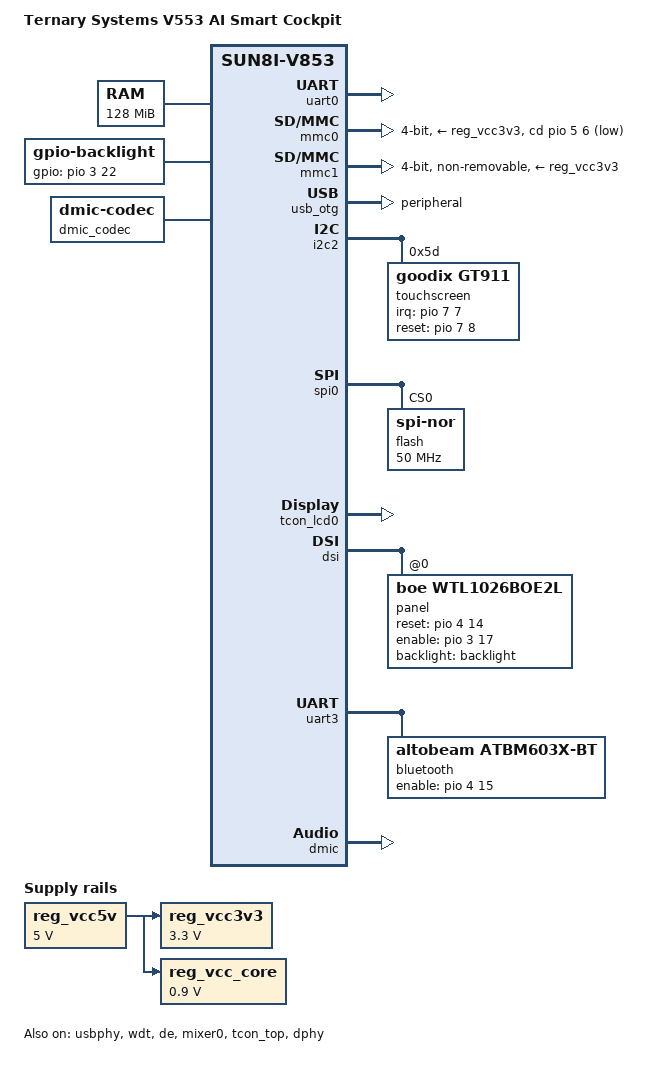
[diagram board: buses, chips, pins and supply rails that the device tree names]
// SPDX-License-Identifier: (GPL-2.0+ OR MIT)
/*
 * Device Tree Source for Ternary Systems Allwinner V553 AI Smart Cockpit
 * Target SoC: Allwinner V553 (sun8iw21p1 / sun8i-v853 compatible)
 * Memory: 128MB DDR3 SIP
 * Peripherals: UART0 (PH9/PH10), MicroSD MMC0 (PF0-PF5, CD: PF6), USB OTG (MUSB)
 * Display: 10.26" BOE (wtl1026boe2l) 600x1600 MIPI-DSI, PWM9 Backlight (PD22)
 * Touchscreen: Goodix GT911 (PH7/PH8, I2C2)
 */

/dts-v1/;

#include <dt-bindings/gpio/gpio.h>
#include <dt-bindings/interrupt-controller/irq.h>
#include <dt-bindings/pwm/pwm.h>
#include "sun8i-v853.dtsi"

/ {
	model = "Ternary Systems V553 AI Smart Cockpit";
	compatible = "ternary,v553-cockpit", "allwinner,sun8i-v853";

	aliases {
		serial0 = &uart0;
		mmc0 = &mmc0;
	};

	chosen {
		stdout-path = "serial0:115200n8";
		bootargs = "earlycon console=ttyS0,115200 root=/dev/mmcblk0p2 rootwait rw panic=10";
	};

	memory@40000000 {
		device_type = "memory";
		reg = <0x40000000 0x08000000>; /* 128MB DDR3 SIP */
	};

	/* Main 5V power supply from USB Type-C connector */
	reg_vcc5v: regulator-5v {
		compatible = "regulator-fixed";
		regulator-name = "vcc-5v";
		regulator-min-microvolt = <5000000>;
		regulator-max-microvolt = <5000000>;
		regulator-always-on;
	};

	/* Main 3.3V I/O supply rail (DCDC / LDO on board) */
	reg_vcc3v3: regulator-3v3 {
		compatible = "regulator-fixed";
		regulator-name = "vcc-3v3";
		regulator-min-microvolt = <3300000>;
		regulator-max-microvolt = <3300000>;
		regulator-always-on;
		vin-supply = <&reg_vcc5v>;
	};

	/* Core voltage supply (0.9V nominal) */
	reg_vcc_core: regulator-core {
		compatible = "regulator-fixed";
		regulator-name = "vcc-core";
		regulator-min-microvolt = <900000>;
		regulator-max-microvolt = <900000>;
		regulator-always-on;
		vin-supply = <&reg_vcc5v>;
	};

	/* LCD Screen Backlight (GPIO Backlight on PD22) */
	backlight: backlight {
		compatible = "gpio-backlight";
		gpios = <&pio 3 22 GPIO_ACTIVE_HIGH>; /* PD22 */
		default-on;
	};

	/* Digital Microphone Audio Sound Card (ALSA SoC) */
	sound_dmic: sound-dmic {
		compatible = "simple-audio-card";
		simple-audio-card,name = "v553-dmic";

		simple-audio-card,cpu {
			sound-dai = <&dmic>;
		};

		simple-audio-card,codec {
			sound-dai = <&dmic_codec>;
		};
	};

	dmic_codec: dmic-codec {
		compatible = "dmic-codec";
		#sound-dai-cells = <0>;
	};
};

&cpu0 {
	cpu-supply = <&reg_vcc_core>;
};

&pio {
	vcc-pb-supply = <&reg_vcc3v3>;
	vcc-pc-supply = <&reg_vcc3v3>;
	vcc-pd-supply = <&reg_vcc3v3>;
	vcc-pe-supply = <&reg_vcc3v3>;
	vcc-pf-supply = <&reg_vcc3v3>;
	vcc-ph-supply = <&reg_vcc3v3>;
};

/* Hardware Debug Console: UART0 on PH9 (TX) and PH10 (RX) */
&uart0 {
	pinctrl-names = "default";
	pinctrl-0 = <&uart0_ph9_pins>;
	status = "okay";
};

/* MicroSD Card: MMC0 on PF0..PF5 with PF6 Card Detect */
&mmc0 {
	pinctrl-names = "default";
	pinctrl-0 = <&mmc0_pins>;
	vmmc-supply = <&reg_vcc3v3>;
	cd-gpios = <&pio 5 6 GPIO_ACTIVE_LOW>; /* PF6 */
	disable-wp;
	bus-width = <4>;
	status = "okay";
};

/* AltoBeam ATBM6165 SDIO Wi-Fi Bus: MMC1 on PE0..PE5 */
&mmc1 {
	pinctrl-names = "default";
	pinctrl-0 = <&mmc1_pins>;
	vmmc-supply = <&reg_vcc3v3>;
	bus-width = <4>;
	no-mmc;
	no-sd;
	cap-sd-highspeed;
	cap-sdio-irq;
	keep-power-in-suspend;
	non-removable;
	status = "okay";
};

/* USB 2.0 OTG Controller & PHY */
&usbphy {
	usb0_vbus-supply = <&reg_vcc5v>;
	status = "okay";
};

&usb_otg {
	dr_mode = "peripheral";
	status = "okay";
};

/* Goodix GT911 Capacitive Touchscreen on I2C2 */
&i2c2 {
	pinctrl-names = "default";
	pinctrl-0 = <&i2c2_ph5_pins>;
	status = "okay";

	touchscreen@5d {
		compatible = "goodix,gt911";
		reg = <0x5d>;
		interrupt-parent = <&pio>;
		interrupts = <7 7 IRQ_TYPE_EDGE_FALLING>; /* PH7 (Bank 7, Pin 7) */
		irq-gpios = <&pio 7 7 GPIO_ACTIVE_HIGH>;
		reset-gpios = <&pio 7 8 GPIO_ACTIVE_HIGH>; /* PH8 (Bank 7, Pin 8) */
		touchscreen-size-x = <600>;
		touchscreen-size-y = <1600>;
	};
};

/* 16MB Factory SPI NOR Flash (XM25QH128C) */
&spi0 {
	pinctrl-names = "default";
	pinctrl-0 = <&spi0_pins>;
	status = "okay";

	flash@0 {
		compatible = "jedec,spi-nor";
		reg = <0>;
		spi-max-frequency = <50000000>;
		m25p,fast-read;
	};
};

/* Hardware Watchdog & System Restart Engine */
&wdt {
	status = "okay";
};

/* Allwinner DE2 DRM Display Engine Pipeline */
&de {
	status = "okay";
};

&display_clocks {
	status = "okay";
};

&mixer0 {
	status = "okay";
};

&tcon_top {
	status = "okay";
};

&tcon_lcd0 {
	status = "okay";
};

&dphy {
	status = "okay";
};

&dsi {
	vcc-dsi-supply = <&reg_vcc3v3>;
	#address-cells = <1>;
	#size-cells = <0>;
	pinctrl-names = "default";
	pinctrl-0 = <&dsi_2lane_pins>;
	status = "okay";

	panel@0 {
		compatible = "boe,wtl1026boe2l";
		reg = <0>;
		reset-gpios = <&pio 4 14 GPIO_ACTIVE_HIGH>; /* PE14 */
		enable-gpios = <&pio 3 17 GPIO_ACTIVE_HIGH>; /* PD17 */
		backlight = <&backlight>;
	};
};


/* AltoBeam ATBM6165 Bluetooth 5.4 HCI Controller on UART3 */
&uart3 {
	pinctrl-names = "default";
	pinctrl-0 = <&uart3_pa_pins>;
	uart-has-rtscts;
	status = "okay";

	bluetooth {
		compatible = "altobeam,atbm603x-bt";
		enable-gpios = <&pio 4 15 GPIO_ACTIVE_HIGH>; /* PE15: BT_REG_ON */
	};
};

/* Allwinner Digital Microphone Controller (DMIC) */
&dmic {
	pinctrl-names = "default";
	pinctrl-0 = <&dmic_ph0_pins>;
	status = "okay";
};
